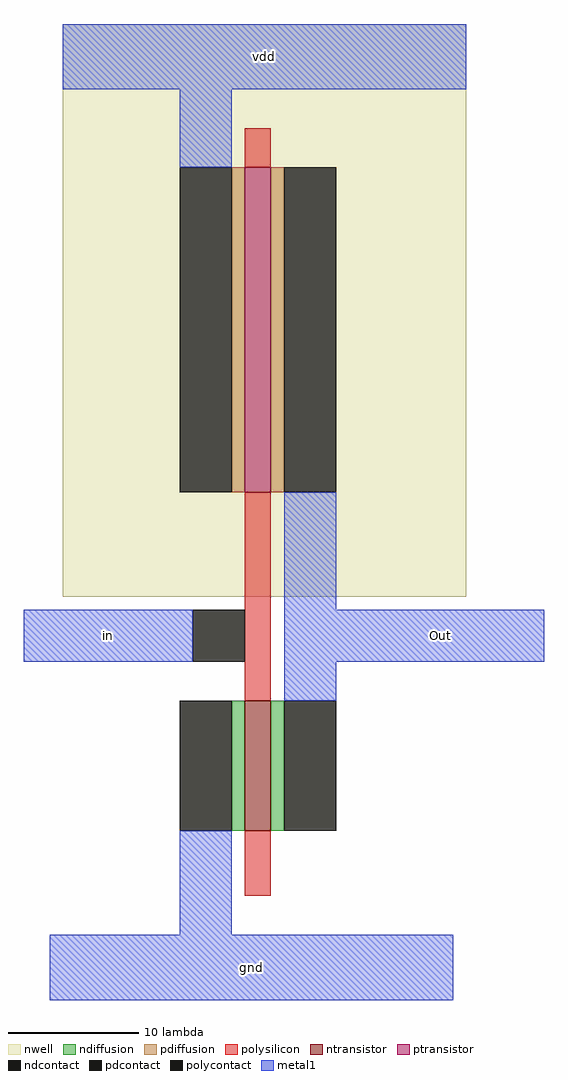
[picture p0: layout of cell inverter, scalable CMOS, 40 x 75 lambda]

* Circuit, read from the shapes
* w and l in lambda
.subckt inverter Out gnd in vdd
M1 Out in gnd VSUBS nfet w=10 l=2
M2 Out in vdd n1 pfet w=25 l=2
.ends

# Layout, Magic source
magic
tech scmos
<< nwell >>
rect -20 -11 11 33
<< ntransistor >>
rect -6 -29 -4 -19
<< ptransistor >>
rect -6 -3 -4 22
<< ndiffusion >>
rect -7 -29 -6 -19
rect -4 -29 -3 -19
<< pdiffusion >>
rect -7 -3 -6 22
rect -4 -3 -3 22
<< ndcontact >>
rect -11 -29 -7 -19
rect -3 -29 1 -19
<< pdcontact >>
rect -11 -3 -7 22
rect -3 -3 1 22
<< polysilicon >>
rect -6 22 -4 25
rect -6 -19 -4 -3
rect -6 -34 -4 -29
<< polycontact >>
rect -10 -16 -6 -12
<< metal1 >>
rect -20 28 11 33
rect -11 22 -7 28
rect -3 -12 1 -3
rect -23 -16 -10 -12
rect -3 -16 17 -12
rect -3 -19 1 -16
rect -11 -37 -7 -29
rect -21 -42 10 -37
<< labels >>
rlabel metal1 -20 28 11 33 5 vdd
rlabel metal1 1 -16 17 -12 1 Out
rlabel metal1 -23 -16 -10 -12 1 in
rlabel metal1 -21 -42 10 -37 1 gnd
<< end >>
